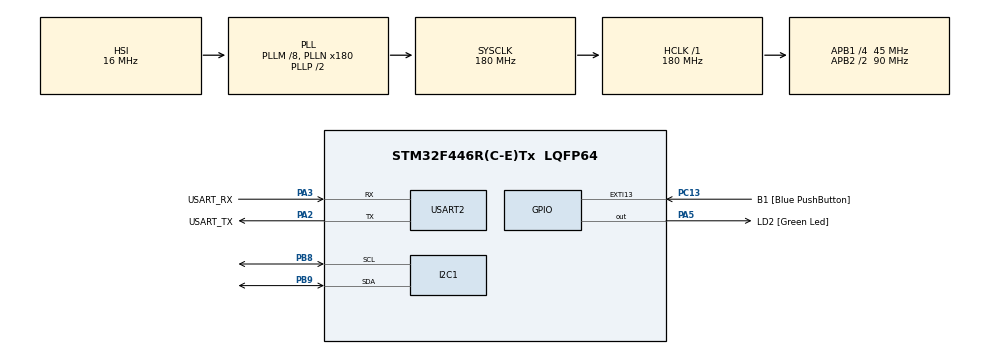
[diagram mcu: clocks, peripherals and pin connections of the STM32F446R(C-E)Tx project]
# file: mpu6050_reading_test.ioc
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Mcu.Family=STM32F4
Mcu.Name=STM32F446R(C-E)Tx
Mcu.Package=LQFP64
NVIC.PriorityGroup=NVIC_PRIORITYGROUP_0
PA13.GPIO_Label=TMS
PA13.Mode=Trace_Asynchronous_SW
PA13.Signal=SYS_JTMS-SWDIO
PA14.GPIO_Label=TCK
PA14.Mode=Trace_Asynchronous_SW
PA14.Signal=SYS_JTCK-SWCLK
PA2.GPIO_Label=USART_TX
PA2.Mode=Asynchronous
PA2.Signal=USART2_TX
PA3.GPIO_Label=USART_RX
PA3.Mode=Asynchronous
PA3.Signal=USART2_RX
PA5.GPIO_Label=LD2 [Green Led]
PA5.Signal=GPIO_Output
PB3.GPIO_Label=SWO
PB3.Mode=Trace_Asynchronous_SW
PB3.Signal=SYS_JTDO-SWO
PB8.Mode=I2C
PB8.Signal=I2C1_SCL
PB9.Mode=I2C
PB9.Signal=I2C1_SDA
PC13.GPIO_Label=B1 [Blue PushButton]
PC13.GPIO_ModeDefaultEXTI=GPIO_MODE_IT_FALLING
PC13.Signal=GPXTI13
PC14-OSC32_IN.Mode=LSE-External-Oscillator
PC14-OSC32_IN.Signal=RCC_OSC32_IN
PC15-OSC32_OUT.Mode=LSE-External-Oscillator
PC15-OSC32_OUT.Signal=RCC_OSC32_OUT
PH0-OSC_IN.Mode=HSE-External-Oscillator
PH0-OSC_IN.Signal=RCC_OSC_IN
PH1-OSC_OUT.Mode=HSE-External-Oscillator
PH1-OSC_OUT.Signal=RCC_OSC_OUT
ProjectManager.HeapSize=0x200
ProjectManager.StackSize=0x400
ProjectManager.TargetToolchain=STM32CubeIDE
RCC.48MHZClocksFreq_Value=84000000
RCC.AHBFreq_Value=180000000
RCC.APB1CLKDivider=RCC_HCLK_DIV4
RCC.APB1Freq_Value=45000000
RCC.APB1TimFreq_Value=90000000
RCC.APB2CLKDivider=RCC_HCLK_DIV2
RCC.APB2Freq_Value=90000000
RCC.APB2TimFreq_Value=180000000
RCC.CortexFreq_Value=180000000
RCC.FLatency-AdvancedSettings=FLASH_LATENCY_5
RCC.HCLKFreq_Value=180000000
RCC.HSE_VALUE=8000000
RCC.HSI_VALUE=16000000
RCC.PLLM=8
RCC.PLLN=180
RCC.SYSCLKFreq_VALUE=180000000
RCC.SYSCLKSource=RCC_SYSCLKSOURCE_PLLCLK
RCC.USBFreq_Value=180000000
RCC.VCOOutputFreq_Value=360000000
USART2.VirtualMode=VM_ASYNC
board=NUCLEO-F446RE

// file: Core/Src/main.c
/* USER CODE BEGIN Header */
/**
  ******************************************************************************
  * @file           : main.c
  * @brief          : Main program body
  ******************************************************************************
  * @attention
  *
  * Copyright (c) 2024 STMicroelectronics.
  * All rights reserved.
  *
  * This software is licensed under terms that can be found in the LICENSE file
  * in the root directory of this software component.
  * If no LICENSE file comes with this software, it is provided AS-IS.
  *
  ******************************************************************************
  */
/* USER CODE END Header */
#include "main.h"
#include "i2c.h"
#include "usart.h"
#include "gpio.h"

/* USER CODE BEGIN Includes */
#include "stdio.h"
#include "stdint.h"
#include "math.h"

/* USER CODE END Includes */

/* USER CODE BEGIN PD */

/*
 * The 7 bit slave address of the MPU6050 is b110100X, with X depending on AD0 (allows two MPU60X0s to be connected to the same I2C bus).
 * HAL needs 8 bit address - b1101000 << 1 == 0xD0.
*/
#define MPU6050_ADDR 0xD0
/* MPU6050 registers. */
#define MPU6050_WHO_AM_I 0x75
#define MPU6050_PWR_MGMT_1 0x6B
#define MPU6050_SMPRT_DIV 0x19
#define MPU6050_CONFIG 0x1A
#define MPU6050_GYRO_CONFIG 0x1B
#define MPU6050_ACCEL_CONFIG 0x1C
#define MPU6050_ACCEL_READ 0x3B
#define MPU6050_GYRO_READ 0x43
#define MPU6050_SELF_TEST 0x0D
#define CALIBRATION_SAMPLES 1000
/* USER CODE END PD */

/* USER CODE BEGIN PV */
int16_t Accel_X_RAW;
int16_t Accel_Y_RAW;
int16_t Accel_Z_RAW;

int16_t Gyro_X_RAW;
int16_t Gyro_Y_RAW;
int16_t Gyro_Z_RAW;

int16_t Accel_X_offset = 0;
int16_t Accel_Y_offset = 0;
int16_t Accel_Z_offset = 0;

int16_t Gyro_X_offset = 0;
int16_t Gyro_Y_offset = 0;
int16_t Gyro_Z_offset = 0;

float Ax;
float Ay;
float Az;
float Gx;
float Gy;
float Gz;

/* USER CODE END PV */

void SystemClock_Config(void);

/* USER CODE BEGIN 0 */

/*Redirecting printf to SWO, needs syscall.*/
int __io_putchar(int ch)
{
	ITM_SendChar(ch);
	return(ch);
}

void MPU6050_Init(void)
{
	HAL_StatusTypeDef status = HAL_I2C_IsDeviceReady(&hi2c1, MPU6050_ADDR, 1, 1000);
	if(status == HAL_OK)
	{
	    printf("I2C device is ready.\n");
	}
	else
	{
	    printf("Error connecting to the I2C device.\n");
	}
	uint8_t check;
	/*
	 * This register is used to verify the identity of the device.
	 * The default value of the register for MPU6050 is 0x68.
	 */
	HAL_I2C_Mem_Read (&hi2c1, MPU6050_ADDR, MPU6050_WHO_AM_I, 1, &check, 1, 1000);
	if (check == 0x68)
	{
	    printf("MPU6050 is ready!\n");
	    uint8_t Data;
	    /*
	     * PWR_MGMT_1: Wakes up MPU6050. Turns off temperature sensor.
	     * SMPRT_DIV: Specifies the divider from the gyroscope output rate used to generate the Sample Rate.
	     * Sample Rate = Gyroscope Output Rate / (1 + SMPLRT_DIV). -> 8KHZ / (1 +7) = 1KHz
	     * ACCEL_CONFIG: Sets full scale range, triggers self test.
	     * Accelometer range set to: 2g, sensibility: 16384.
	     * GYRO_CONFIG: Sets full scale range, triggers self test.
	     * Gyroscope range set to: 250 °/s, sensibility 16384.
	     */
	    Data = 0b00001000;
	    HAL_I2C_Mem_Write(&hi2c1, MPU6050_ADDR, MPU6050_PWR_MGMT_1, 1, &Data, 1, 1000);
	    Data = 0x0;
	    HAL_I2C_Mem_Write(&hi2c1, MPU6050_ADDR, MPU6050_CONFIG, 1, &Data, 1, 1000);
	    Data = 0x10;
	    HAL_I2C_Mem_Write(&hi2c1, MPU6050_ADDR, MPU6050_SMPRT_DIV, 1, &Data, 1,  1000);
	    Data = 0x0;
	    HAL_I2C_Mem_Write(&hi2c1, MPU6050_ADDR, MPU6050_ACCEL_CONFIG, 1, &Data, 1, 1000);
	    Data = 0x0;
	    HAL_I2C_Mem_Write(&hi2c1, MPU6050_ADDR, MPU6050_GYRO_CONFIG, 1, &Data, 1, 1000);
	    HAL_Delay(300);
	}
}

void MPU6050_Reset(void) {
    uint8_t reset_command = 0x80;  // Wartość resetująca urządzenie
    HAL_I2C_Mem_Write(&hi2c1, MPU6050_ADDR, MPU6050_PWR_MGMT_1, 1, &reset_command, 1, 1000);
    HAL_Delay(100);  // Czekamy chwilę na zakończenie resetu
}

void MPU6050_Calibrate(void)
{
    int32_t Accel_X_sum = 0;
    int32_t Accel_Y_sum = 0;
    int32_t Accel_Z_sum = 0;

    int32_t Gyro_X_sum = 0;
    int32_t Gyro_Y_sum = 0;
    int32_t Gyro_Z_sum = 0;

    for (int i = 0; i < CALIBRATION_SAMPLES; i++)
    {
        // Odczytujemy dane akcelerometru i żyroskopu
        MPU6050_Read_Accel();
        MPU6050_Read_Gyro();

        // Sumujemy wartości
        Accel_X_sum += Accel_X_RAW;
        Accel_Y_sum += Accel_Y_RAW;
        Accel_Z_sum += Accel_Z_RAW;

        Gyro_X_sum += Gyro_X_RAW;
        Gyro_Y_sum += Gyro_Y_RAW;
        Gyro_Z_sum += Gyro_Z_RAW;

        // Czekamy chwilę, aby zebrać dane
        HAL_Delay(10);
    }

    // Obliczamy średnie wartości
    Accel_X_offset = Accel_X_sum / CALIBRATION_SAMPLES;
    Accel_Y_offset = Accel_Y_sum / CALIBRATION_SAMPLES;
    Accel_Z_offset = Accel_Z_sum / CALIBRATION_SAMPLES;

    Gyro_X_offset = Gyro_X_sum / CALIBRATION_SAMPLES;
    Gyro_Y_offset = Gyro_Y_sum / CALIBRATION_SAMPLES;
    Gyro_Z_offset = Gyro_Z_sum / CALIBRATION_SAMPLES;

    printf("Calibration Complete!\n");
    printf("Accel Offsets: X = %d, Y = %d, Z = %d\n", Accel_X_offset, Accel_Y_offset, Accel_Z_offset);
    printf("Gyro Offsets: X = %d, Y = %d, Z = %d\n", Gyro_X_offset, Gyro_Y_offset, Gyro_Z_offset);
}

void MPU6050_Read_Accel(void)
{
	/*
	 * Read from 6 registers all the Accel values.
	 */
	uint8_t RecData[6];
	HAL_I2C_Mem_Read(&hi2c1, MPU6050_ADDR, MPU6050_ACCEL_READ, 1, RecData, 6, 1000);

	/*
	 * Raw value is 16 bit - merge every two registers.
	 */
	 Accel_X_RAW = (int16_t)(RecData[0] << 8 | RecData[1]) - Accel_X_offset;
	 Accel_Y_RAW = (int16_t)(RecData[2] << 8 | RecData[3]) - Accel_Y_offset;
	 Accel_Z_RAW = (int16_t)(RecData[4] << 8 | RecData[5]) - Accel_Z_offset;

	/*
	 * Normalization: raw data to degrees per second.
	 * Analog data -> digital data.
	 * LSB Sensitivity defines physical value corresponds to one unit in the digital scale. (?)
	 * Divide by the set sensibility for chosen range.
	 */
	float AccelSensitivity = 16384.0;
	Ax = (float)Accel_X_RAW/AccelSensitivity;
	Ay = (float)Accel_Y_RAW/AccelSensitivity;
	Az = (float)Accel_Z_RAW/AccelSensitivity;
}

void MPU6050_Read_Gyro(void)
{
	/*
  	 * Read from 6 registers all the Gyro values.
  	 */
	uint8_t RecData[6];

	HAL_I2C_Mem_Read (&hi2c1, MPU6050_ADDR, MPU6050_GYRO_READ, 1, RecData, 6, 1000);

	/*
	* Raw value is 16 bit - merge every two registers.
	*/
	Gyro_X_RAW = (int16_t)(RecData[0] << 8 | RecData[1]) - Gyro_X_offset;
	Gyro_Y_RAW = (int16_t)(RecData[2] << 8 | RecData[3]) - Gyro_Y_offset;
	Gyro_Z_RAW = (int16_t)(RecData[4] << 8 | RecData[5]) - Gyro_Z_offset;;

	/*
	 * Normalization: raw data to degrees per second.
	 * Divide by the set sensibility for chosen range.
	 */
	float GyroSensitivity = 131.0;
	Gx = (float)Gyro_X_RAW/GyroSensitivity;
	Gy = (float)Gyro_Y_RAW/GyroSensitivity;
	Gz = (float)Gyro_Z_RAW/GyroSensitivity;
}

void MPU6050_Self_Test(void)
{
	/*
	 * Self-test enable for X, Y and Z.
	 * When performing accelerometer self test, the full-scale range should be set to ±8g
	 * Accelerator: full range: ± 8g -> sensitivity: 16384 LSB/g.
	 * When performing self test for the gyroscope, the full-scale range should be set to ±250dps.
	 * Gyroscope: full range: ± 250 °/s -> sensitivity: 131 LSB/°/s.
	 */

	/*
	 * Sets needed range and enables self-test.
	 */
	uint8_t Data = 0b11110000;
	HAL_I2C_Mem_Write(&hi2c1, MPU6050_ADDR, MPU6050_ACCEL_CONFIG, 1, &Data, 1, 1000);
	Data = 0b11100000;
	HAL_I2C_Mem_Write(&hi2c1, MPU6050_ADDR, MPU6050_GYRO_CONFIG, 1, &Data, 1, 1000);
	/* Wait for config update. (?)*/
	HAL_Delay(300);

	/* Reading raw data from SELF_TEST registers. */
	uint8_t RawData[4];
	HAL_I2C_Mem_Read(&hi2c1, MPU6050_ADDR, MPU6050_SELF_TEST, 1, RawData, 4, 1000);

	uint8_t SelfTestData[6];
	/* Accelerometer Self Test Data   0b000yyxxx*/
	SelfTestData[0] = ((RawData[3] &  0b00110000) >> 1) | (RawData[0] >> 5);
	SelfTestData[1] = ((RawData[3] &  0b00001100) << 1) | (RawData[1] >> 5);
	SelfTestData[2] = ((RawData[3] &  0b00000011) << 3) | (RawData[2] >> 5);

	/* Gyroscope Self Test Data */
	SelfTestData[3] = RawData[0] & 0b00011111;
	SelfTestData[4] = RawData[1] & 0b00011111;
	SelfTestData[5] = RawData[2] & 0b00011111;

	float FactoryTrim[6];
	/* The factory trim value for accelerometer. */
	FactoryTrim[0] = 4096.0 * 0.34 * pow((0.92/0.34), (((float)SelfTestData[0] - 1))/(pow(2,5)-2));
	FactoryTrim[1] = 4096.0 * 0.34 * pow((0.92/0.34), (((float)SelfTestData[1] - 1))/(pow(2,5)-2));
	FactoryTrim[2] = 4096.0 * 0.34 * pow((0.92/0.34), (((float)SelfTestData[2] - 1))/(pow(2,5)-2));

	/* The factory trim value for gyroscope. */
	FactoryTrim[3] = 25.0 * 131.0 * pow(1.046, (float)SelfTestData[3]-1);
	FactoryTrim[4] = -25.0 * 131.0 * pow(1.046, (float)SelfTestData[4]-1);
	FactoryTrim[5] = 25.0 * 131.0 * pow(1.046, (float)SelfTestData[5]-1);

	float Results[6];

	char Labels[6][3] = {"AX", "AY", "AZ", "GX", "GY", "GZ"};

	for(int i = 0; i < 6; i++)
	{
	     Results[i] = ((float)SelfTestData[i] - FactoryTrim[i]) / FactoryTrim[i];
	     /*
	      * Self-test response must be within the specified limits to pass.
	      * The limit is: 14%, for both accelerometer and gyroscope.
	      */
	     printf("%s: %.2f, test passed: %s\n", Labels[i], Results[i], fabs(Results[i]) < 14.0 ? "true" : "false");
	}

}

int Read_Button(void)
{
	int buttonState = HAL_GPIO_ReadPin(B1_GPIO_Port, B1_Pin);
	return buttonState;
}

/* USER CODE END 0 */

int main(void)
{

  /* MCU Configuration--------------------------------------------------------*/

  /* Reset of all peripherals, Initializes the Flash interface and the Systick. */
  HAL_Init();

  /* Configure the system clock */
  SystemClock_Config();

  /* Initialize all configured peripherals */
  MX_GPIO_Init();
  MX_USART2_UART_Init();
  MX_I2C1_Init();
  /* USER CODE BEGIN 2 */
  MPU6050_Init();
  MPU6050_Calibrate();
  /*MPU6050_Self_Test();*/
  /* USER CODE END 2 */

  /* Infinite loop */
  while (1)
  {
      MPU6050_Read_Accel();
      MPU6050_Read_Gyro();
      printf("%.4f,%.4f,%.4f,%.4f,%.4f,%.4f\n", Ax, Ay, Az, Gx, Gy, Gz);
      HAL_Delay(10);
  }
}

void SystemClock_Config(void)
{
  RCC_OscInitTypeDef RCC_OscInitStruct = {0};
  RCC_ClkInitTypeDef RCC_ClkInitStruct = {0};

  /** Configure the main internal regulator output voltage
  */
  __HAL_RCC_PWR_CLK_ENABLE();
  __HAL_PWR_VOLTAGESCALING_CONFIG(PWR_REGULATOR_VOLTAGE_SCALE1);

  /** Initializes the RCC Oscillators according to the specified parameters
  * in the RCC_OscInitTypeDef structure.
  */
  RCC_OscInitStruct.OscillatorType = RCC_OSCILLATORTYPE_HSI;
  RCC_OscInitStruct.HSIState = RCC_HSI_ON;
  RCC_OscInitStruct.HSICalibrationValue = RCC_HSICALIBRATION_DEFAULT;
  RCC_OscInitStruct.PLL.PLLState = RCC_PLL_ON;
  RCC_OscInitStruct.PLL.PLLSource = RCC_PLLSOURCE_HSI;
  RCC_OscInitStruct.PLL.PLLM = 8;
  RCC_OscInitStruct.PLL.PLLN = 180;
  RCC_OscInitStruct.PLL.PLLP = RCC_PLLP_DIV2;
  RCC_OscInitStruct.PLL.PLLQ = 2;
  RCC_OscInitStruct.PLL.PLLR = 2;
  if (HAL_RCC_OscConfig(&RCC_OscInitStruct) != HAL_OK)
  {
    Error_Handler();
  }

  /** Activate the Over-Drive mode
  */
  if (HAL_PWREx_EnableOverDrive() != HAL_OK)
  {
    Error_Handler();
  }

  /** Initializes the CPU, AHB and APB buses clocks
  */
  RCC_ClkInitStruct.ClockType = RCC_CLOCKTYPE_HCLK|RCC_CLOCKTYPE_SYSCLK
                              |RCC_CLOCKTYPE_PCLK1|RCC_CLOCKTYPE_PCLK2;
  RCC_ClkInitStruct.SYSCLKSource = RCC_SYSCLKSOURCE_PLLCLK;
  RCC_ClkInitStruct.AHBCLKDivider = RCC_SYSCLK_DIV1;
  RCC_ClkInitStruct.APB1CLKDivider = RCC_HCLK_DIV4;
  RCC_ClkInitStruct.APB2CLKDivider = RCC_HCLK_DIV2;

  if (HAL_RCC_ClockConfig(&RCC_ClkInitStruct, FLASH_LATENCY_5) != HAL_OK)
  {
    Error_Handler();
  }
}

void Error_Handler(void)
{
  __disable_irq();
  while (1)
  {
  }
}
